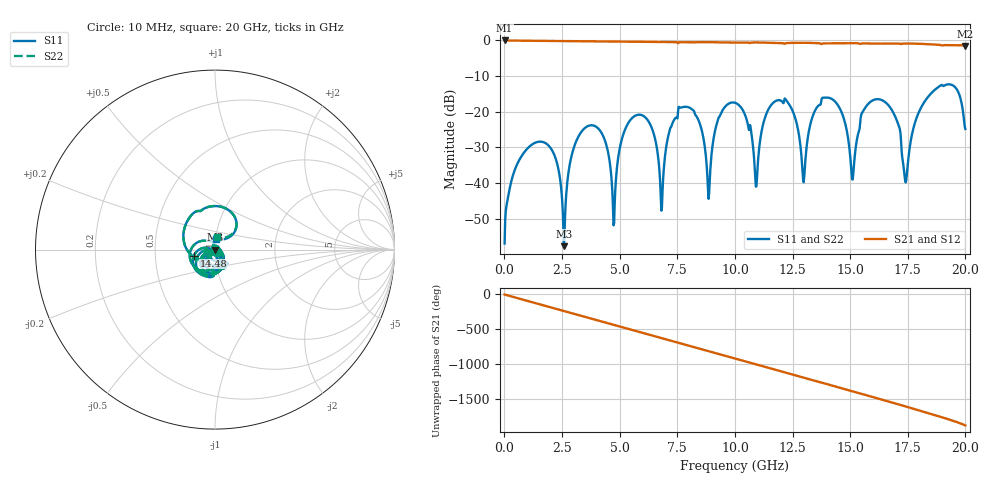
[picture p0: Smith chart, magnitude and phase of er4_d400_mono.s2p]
! Stitch-rule transferability - stripline, 2 mm stitch pitch, cut at x=20 mm
! Case: er4_d400_mono
! Sweep: 10 MHz - 20 GHz, 25 MHz step, 4 cores
# GHz S MA R 50.000000
! Terminal data exported
! Port[1] = U1.PAD1.SIG
! Port[2] = U2.PAD1.SIG
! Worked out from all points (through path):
!   801 points, 10 MHz to 20 GHz, reference 50 ohm
!   highest |S21| = -0.01 dB at 10 MHz (marker M1); lowest = -1.5 dB at 20 GHz (marker M2)
!   group delay of S21, straight-line fit = 258 ps
!   lowest |S11| = -57.7 dB at 2.585 GHz (marker M3), VSWR 1.00, Z = 50 - j0.122 ohm
!   |S11| at or under -10 dB: start of sweep to end of sweep
!   |S22| runs from -57.7 to -12.3 dB; largest |S21 - S12| = 0
!   S11 on the Smith chart (normalised r, x): 10 MHz: 1.00, +0.00; 14.48 GHz: 0.79, -0.05; 20 GHz: 1.01, +0.12
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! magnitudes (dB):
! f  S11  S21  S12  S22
! 10 MHz  -56.9  0.0  0.0  -56.9
! 1.435 GHz  -28.5  -0.1  -0.1  -28.5
! 2.585 GHz  -57.7  -0.2  -0.2  -57.7
! 3.36 GHz  -25.5  -0.2  -0.2  -25.5
! 4.26 GHz  -26.5  -0.3  -0.3  -26.5
! 4.735 GHz  -51.8  -0.3  -0.3  -51.9
! 5.61 GHz  -21.4  -0.4  -0.4  -21.4
! 6.685 GHz  -33.6  -0.4  -0.4  -33.6
! 7.96 GHz  -18.7  -0.5  -0.5  -18.7
! 8.86 GHz  -44.4  -0.5  -0.5  -44.4
! 10.01 GHz  -17.5  -0.6  -0.6  -17.5
! 10.91 GHz  -41.0  -0.6  -0.6  -41.0
! 11.66 GHz  -17.5  -0.7  -0.7  -17.5
! 12.98 GHz  -39.8  -0.7  -0.7  -39.8
! 13.36 GHz  -21.5  -0.7  -0.7  -21.5
! 14.48 GHz  -18.3  -0.8  -0.8  -18.3
! 15.11 GHz  -39.0  -0.8  -0.8  -39.1
! 15.59 GHz  -19.6  -0.8  -0.8  -19.6
! 16.68 GHz  -18.4  -0.9  -0.9  -18.4
! 17.39 GHz  -39.2  -0.9  -0.9  -39.2
! 18.76 GHz  -13.4  -1.2  -1.2  -13.4
! 20 GHz  -24.8  -1.5  -1.5  -23.2
